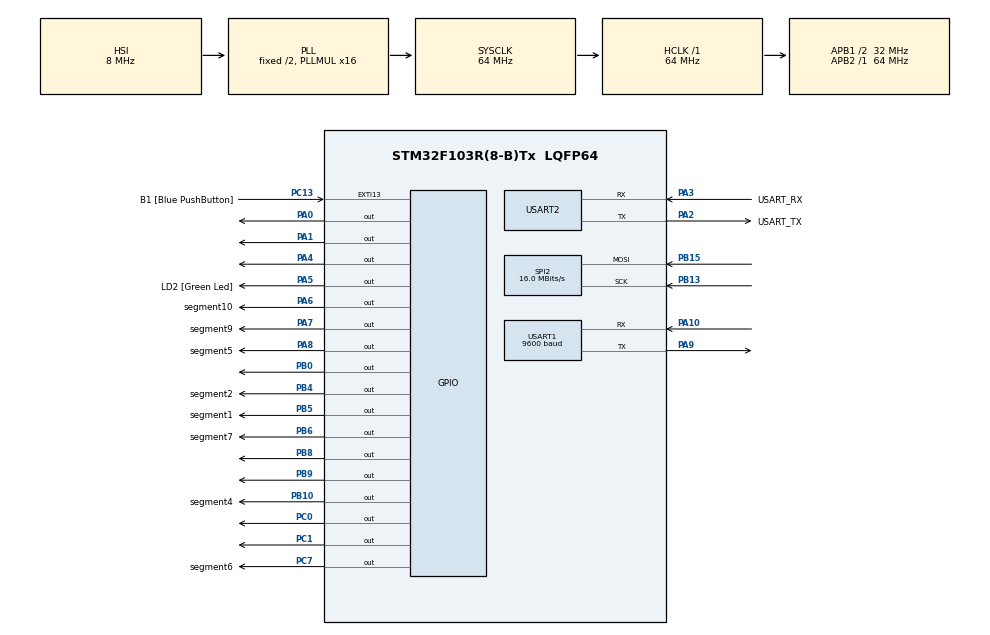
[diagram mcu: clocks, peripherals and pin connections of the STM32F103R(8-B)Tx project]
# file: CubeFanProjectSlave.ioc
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Mcu.Family=STM32F1
PA2.GPIO_PuPd=GPIO_NOPULL
SPI2.VirtualType=VM_SLAVE
USART1.BaudRate=9600
PA14.GPIO_Label=TCK
PA3.GPIO_PuPd=GPIO_NOPULL
PA2.GPIO_Speed=GPIO_SPEED_FREQ_LOW
PA6.GPIO_Label=segment10
PB6.GPIO_Label=segment7
PA3.GPIO_Speed=GPIO_SPEED_FREQ_LOW
PB13.Signal=SPI2_SCK
PB15.Signal=SPI2_MOSI
RCC.SYSCLKSource=RCC_SYSCLKSOURCE_PLLCLK
ProjectManager.StackSize=0x400
PD1-OSC_OUT.Signal=RCC_OSC_OUT
RCC.HCLKFreq_Value=64000000
RCC.APB2TimFreq_Value=64000000
TIM3.Period=0xffff
PB6.Signal=GPIO_Output
PC7.Signal=GPIO_Output
RCC.AHBFreq_Value=64000000
NVIC.EXTI15_10_IRQn=true\:0\:0\:false\:false\:true\:true\:true
RCC.RTCClockSelection=RCC_RTCCLKSOURCE_LSE
RCC.PLLMUL=RCC_PLL_MUL16
PC14-OSC32_IN.Mode=LSE-External-Oscillator
PA14.Mode=Serial_Wire
TIM3.Prescaler=64
PA5.GPIO_PuPd=GPIO_NOPULL
SPI2.CalculateBaudRate=16.0 MBits/s
PA8.Signal=GPIO_Output
NVIC.SPI2_IRQn=true\:0\:0\:false\:false\:true\:true\:true
TIM4.Period=999
Mcu.Package=LQFP64
PB9.Signal=GPIO_Output
TIM2.Prescaler=64000
PA6.Signal=GPIO_Output
SPI2.Mode=SPI_MODE_SLAVE
USART2.VirtualMode=VM_ASYNC
PC13-TAMPER-RTC.GPIO_PuPd=GPIO_NOPULL
PA2.GPIO_Label=USART_TX
PA10.Signal=USART1_RX
PB5.GPIO_Label=segment1
RCC.APB1TimFreq_Value=64000000
SPI2.Direction=SPI_DIRECTION_2LINES_RXONLY
PB13.Mode=RX_Only_Simplex_Unidirect_Slave
NVIC.USART1_IRQn=true\:0\:0\:false\:false\:true\:true\:true
VP_TIM3_VS_ClockSourceINT.Mode=Internal
PB4.Signal=GPIO_Output
PA3.Signal=USART2_RX
PA2.GPIO_Mode=GPIO_MODE_AF_PP
PB3.GPIO_Label=SWO
PC15-OSC32_OUT.Mode=LSE-External-Oscillator
PD1-OSC_OUT.Mode=HSE-External-Clock-Source
PA10.Mode=Asynchronous
PC13-TAMPER-RTC.Signal=GPXTI13
PD0-OSC_IN.Signal=RCC_OSC_IN
PC0.Signal=GPIO_Output
RCC.APB1CLKDivider=RCC_HCLK_DIV2
PC14-OSC32_IN.Signal=RCC_OSC32_IN
NVIC.USART2_IRQn=true\:0\:0\:false\:false\:true\:true\:true
PA0-WKUP.Signal=GPIO_Output
PA3.Mode=Asynchronous
PA13.Signal=SYS_JTMS-SWDIO
PA9.Mode=Asynchronous
PA8.GPIO_Label=segment5
ProjectManager.TargetToolchain=SW4STM32
PB10.GPIO_Label=segment4
PA3.GPIO_Mode=GPIO_MODE_AF_PP
PA9.Signal=USART1_TX
RCC.USBFreq_Value=64000000
TIM4.Prescaler=62999
PC15-OSC32_OUT.Signal=RCC_OSC32_OUT
PA1.Signal=GPIO_Output
PD0-OSC_IN.Mode=HSE-External-Clock-Source
PB10.Signal=GPIO_Output
PA5.Signal=GPIO_Output
board=NUCLEO-F103RB
PC13-TAMPER-RTC.GPIO_Label=B1 [Blue PushButton]
PB15.Mode=RX_Only_Simplex_Unidirect_Slave
RCC.APB2Freq_Value=64000000
PB4.GPIO_Label=segment2
PA5.GPIO_ModeDefaultOutputPP=GPIO_MODE_OUTPUT_PP
VP_TIM2_VS_ClockSourceINT.Mode=Internal
TIM2.Period=0xffff-1
PA13.Mode=Serial_Wire
Mcu.Name=STM32F103R(8-B)Tx
PA2.Signal=USART2_TX
PA13.GPIO_Label=TMS
PC7.GPIO_Label=segment6
PB3.Signal=SYS_JTDO-TRACESWO
PA4.Signal=GPIO_Output
RCC.SYSCLKFreq_VALUE=64000000
PB5.Signal=GPIO_Output
PA7.GPIO_Label=segment9
PA5.GPIO_Label=LD2 [Green Led]
USART1.VirtualMode=VM_ASYNC
PA14.Signal=SYS_JTCK-SWCLK
ProjectManager.HeapSize=0x200
VP_TIM4_VS_ClockSourceINT.Mode=Internal
PA5.GPIO_Speed=GPIO_SPEED_FREQ_LOW
NVIC.PriorityGroup=NVIC_PRIORITYGROUP_4
PA2.Mode=Asynchronous
PB8.Signal=GPIO_Output
NVIC.TIM4_IRQn=true\:0\:0\:false\:false\:true\:true\:true
RCC.APB1Freq_Value=32000000
PB0.Signal=GPIO_Output
PC1.Signal=GPIO_Output
PA3.GPIO_Label=USART_RX
PA7.Signal=GPIO_Output

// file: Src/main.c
/* USER CODE BEGIN Header */
/**
  ******************************************************************************
  * @file           : main.c
  * @brief          : Main program body
  ******************************************************************************
  * @attention
  *
  * <h2><center>&copy; Copyright (c) 2020 STMicroelectronics.
  * All rights reserved.</center></h2>
  *
  * This software component is licensed by ST under BSD 3-Clause license,
  * the "License"; You may not use this file except in compliance with the
  * License. You may obtain a copy of the License at:
  *                        opensource.org/licenses/BSD-3-Clause
  *
  ******************************************************************************
  */
/* USER CODE END Header */

#include "main.h"

/* USER CODE BEGIN Includes */
#include "..\lcd_4bits\lcd_1602.c"
/* USER CODE END Includes */

SPI_HandleTypeDef hspi2;

TIM_HandleTypeDef htim2;
TIM_HandleTypeDef htim3;
TIM_HandleTypeDef htim4;

UART_HandleTypeDef huart1;
UART_HandleTypeDef huart2;

/* USER CODE BEGIN PV */
uint8_t Received = 8;
uint8_t Received2;

uint8_t size = 0;
/* USER CODE END PV */

void SystemClock_Config(void);
static void MX_GPIO_Init(void);
static void MX_USART2_UART_Init(void);
static void MX_USART1_UART_Init(void);
static void MX_SPI2_Init(void);
static void MX_TIM3_Init(void);
static void MX_TIM2_Init(void);
static void MX_TIM4_Init(void);
/* USER CODE BEGIN PFP */
/* Private function prototypes -----------------------------------------------*/

void drawNumber(int i)
{
	switch(i)
	{
	case 0:

		HAL_GPIO_WritePin(segment1_GPIO_Port, segment1_Pin, GPIO_PIN_SET);
		HAL_GPIO_WritePin(segment2_GPIO_Port, segment2_Pin, GPIO_PIN_SET);
		HAL_GPIO_WritePin(segment4_GPIO_Port, segment4_Pin, GPIO_PIN_SET);
		HAL_GPIO_WritePin(segment5_GPIO_Port, segment5_Pin, GPIO_PIN_RESET);
		HAL_GPIO_WritePin(segment6_GPIO_Port, segment6_Pin, GPIO_PIN_SET);
		HAL_GPIO_WritePin(segment7_GPIO_Port, segment7_Pin, GPIO_PIN_SET);
		HAL_GPIO_WritePin(segment9_GPIO_Port, segment9_Pin, GPIO_PIN_SET);
		HAL_GPIO_WritePin(segment10_GPIO_Port, segment10_Pin, GPIO_PIN_RESET);
		break;
	case 1:
			HAL_GPIO_WritePin(segment1_GPIO_Port, segment1_Pin, GPIO_PIN_RESET);
			HAL_GPIO_WritePin(segment2_GPIO_Port, segment2_Pin, GPIO_PIN_RESET);
			HAL_GPIO_WritePin(segment4_GPIO_Port, segment4_Pin, GPIO_PIN_SET);
			HAL_GPIO_WritePin(segment5_GPIO_Port, segment5_Pin, GPIO_PIN_RESET);
			HAL_GPIO_WritePin(segment6_GPIO_Port, segment6_Pin, GPIO_PIN_SET);
			HAL_GPIO_WritePin(segment7_GPIO_Port, segment7_Pin, GPIO_PIN_RESET);
			HAL_GPIO_WritePin(segment9_GPIO_Port, segment9_Pin, GPIO_PIN_RESET);
			HAL_GPIO_WritePin(segment10_GPIO_Port, segment10_Pin, GPIO_PIN_RESET);
			break;
	case 2:
			HAL_GPIO_WritePin(segment1_GPIO_Port, segment1_Pin, GPIO_PIN_SET);
			HAL_GPIO_WritePin(segment2_GPIO_Port, segment2_Pin, GPIO_PIN_SET);
			HAL_GPIO_WritePin(segment4_GPIO_Port, segment4_Pin, GPIO_PIN_RESET);
			HAL_GPIO_WritePin(segment5_GPIO_Port, segment5_Pin, GPIO_PIN_RESET);
			HAL_GPIO_WritePin(segment6_GPIO_Port, segment6_Pin, GPIO_PIN_SET);
			HAL_GPIO_WritePin(segment7_GPIO_Port, segment7_Pin, GPIO_PIN_SET);
			HAL_GPIO_WritePin(segment9_GPIO_Port, segment9_Pin, GPIO_PIN_RESET);
			HAL_GPIO_WritePin(segment10_GPIO_Port, segment10_Pin, GPIO_PIN_SET);
			break;
	case 3:
			HAL_GPIO_WritePin(segment1_GPIO_Port, segment1_Pin, GPIO_PIN_RESET);
			HAL_GPIO_WritePin(segment2_GPIO_Port, segment2_Pin, GPIO_PIN_SET);
			HAL_GPIO_WritePin(segment4_GPIO_Port, segment4_Pin, GPIO_PIN_SET);
			HAL_GPIO_WritePin(segment5_GPIO_Port, segment5_Pin, GPIO_PIN_RESET);
			HAL_GPIO_WritePin(segment6_GPIO_Port, segment6_Pin, GPIO_PIN_SET);
			HAL_GPIO_WritePin(segment7_GPIO_Port, segment7_Pin, GPIO_PIN_SET);
			HAL_GPIO_WritePin(segment9_GPIO_Port, segment9_Pin, GPIO_PIN_RESET);
			HAL_GPIO_WritePin(segment10_GPIO_Port, segment10_Pin, GPIO_PIN_SET);
			break;

	case 4:
			HAL_GPIO_WritePin(segment1_GPIO_Port, segment1_Pin, GPIO_PIN_RESET);
			HAL_GPIO_WritePin(segment2_GPIO_Port, segment2_Pin, GPIO_PIN_RESET);
			HAL_GPIO_WritePin(segment4_GPIO_Port, segment4_Pin, GPIO_PIN_SET);
			HAL_GPIO_WritePin(segment5_GPIO_Port, segment5_Pin, GPIO_PIN_RESET);
			HAL_GPIO_WritePin(segment6_GPIO_Port, segment6_Pin, GPIO_PIN_SET);
			HAL_GPIO_WritePin(segment7_GPIO_Port, segment7_Pin, GPIO_PIN_RESET);
			HAL_GPIO_WritePin(segment9_GPIO_Port, segment9_Pin, GPIO_PIN_SET);
			HAL_GPIO_WritePin(segment10_GPIO_Port, segment10_Pin, GPIO_PIN_SET);
			break;
	case 5:
			HAL_GPIO_WritePin(segment1_GPIO_Port, segment1_Pin, GPIO_PIN_RESET);
			HAL_GPIO_WritePin(segment2_GPIO_Port, segment2_Pin, GPIO_PIN_SET);
			HAL_GPIO_WritePin(segment4_GPIO_Port, segment4_Pin, GPIO_PIN_SET);
			HAL_GPIO_WritePin(segment5_GPIO_Port, segment5_Pin, GPIO_PIN_RESET);
			HAL_GPIO_WritePin(segment6_GPIO_Port, segment6_Pin, GPIO_PIN_RESET);
			HAL_GPIO_WritePin(segment7_GPIO_Port, segment7_Pin, GPIO_PIN_SET);
			HAL_GPIO_WritePin(segment9_GPIO_Port, segment9_Pin, GPIO_PIN_SET);
			HAL_GPIO_WritePin(segment10_GPIO_Port, segment10_Pin, GPIO_PIN_SET);
			break;
	case 6:
			HAL_GPIO_WritePin(segment1_GPIO_Port, segment1_Pin, GPIO_PIN_SET);
			HAL_GPIO_WritePin(segment2_GPIO_Port, segment2_Pin, GPIO_PIN_SET);
			HAL_GPIO_WritePin(segment4_GPIO_Port, segment4_Pin, GPIO_PIN_SET);
			HAL_GPIO_WritePin(segment5_GPIO_Port, segment5_Pin, GPIO_PIN_RESET);
			HAL_GPIO_WritePin(segment6_GPIO_Port, segment6_Pin, GPIO_PIN_RESET);
			HAL_GPIO_WritePin(segment7_GPIO_Port, segment7_Pin, GPIO_PIN_SET);
			HAL_GPIO_WritePin(segment9_GPIO_Port, segment9_Pin, GPIO_PIN_SET);
			HAL_GPIO_WritePin(segment10_GPIO_Port, segment10_Pin, GPIO_PIN_SET);
			break;
	case 7:
			HAL_GPIO_WritePin(segment1_GPIO_Port, segment1_Pin, GPIO_PIN_RESET);
			HAL_GPIO_WritePin(segment2_GPIO_Port, segment2_Pin, GPIO_PIN_RESET);
			HAL_GPIO_WritePin(segment4_GPIO_Port, segment4_Pin, GPIO_PIN_SET);
			HAL_GPIO_WritePin(segment5_GPIO_Port, segment5_Pin, GPIO_PIN_RESET);
			HAL_GPIO_WritePin(segment6_GPIO_Port, segment6_Pin, GPIO_PIN_SET);
			HAL_GPIO_WritePin(segment7_GPIO_Port, segment7_Pin, GPIO_PIN_SET);
			HAL_GPIO_WritePin(segment9_GPIO_Port, segment9_Pin, GPIO_PIN_RESET);
			HAL_GPIO_WritePin(segment10_GPIO_Port, segment10_Pin, GPIO_PIN_RESET);
			break;
	case 8:
			HAL_GPIO_WritePin(segment1_GPIO_Port, segment1_Pin, GPIO_PIN_SET);
			HAL_GPIO_WritePin(segment2_GPIO_Port, segment2_Pin, GPIO_PIN_SET);
			HAL_GPIO_WritePin(segment4_GPIO_Port, segment4_Pin, GPIO_PIN_SET);
			HAL_GPIO_WritePin(segment5_GPIO_Port, segment5_Pin, GPIO_PIN_RESET);
			HAL_GPIO_WritePin(segment6_GPIO_Port, segment6_Pin, GPIO_PIN_SET);
			HAL_GPIO_WritePin(segment7_GPIO_Port, segment7_Pin, GPIO_PIN_SET);
			HAL_GPIO_WritePin(segment9_GPIO_Port, segment9_Pin, GPIO_PIN_SET);
			HAL_GPIO_WritePin(segment10_GPIO_Port, segment10_Pin, GPIO_PIN_SET);
			break;
	case 9:
			HAL_GPIO_WritePin(segment1_GPIO_Port, segment1_Pin, GPIO_PIN_RESET);
			HAL_GPIO_WritePin(segment2_GPIO_Port, segment2_Pin, GPIO_PIN_SET);
			HAL_GPIO_WritePin(segment4_GPIO_Port, segment4_Pin, GPIO_PIN_SET);
			HAL_GPIO_WritePin(segment5_GPIO_Port, segment5_Pin, GPIO_PIN_RESET);
			HAL_GPIO_WritePin(segment6_GPIO_Port, segment6_Pin, GPIO_PIN_SET);
			HAL_GPIO_WritePin(segment7_GPIO_Port, segment7_Pin, GPIO_PIN_SET);
			HAL_GPIO_WritePin(segment9_GPIO_Port, segment9_Pin, GPIO_PIN_SET);
			HAL_GPIO_WritePin(segment10_GPIO_Port, segment10_Pin, GPIO_PIN_SET);
			break;
	default:
			HAL_GPIO_WritePin(segment1_GPIO_Port, segment1_Pin, GPIO_PIN_RESET);
			HAL_GPIO_WritePin(segment2_GPIO_Port, segment2_Pin, GPIO_PIN_RESET);
			HAL_GPIO_WritePin(segment4_GPIO_Port, segment4_Pin, GPIO_PIN_RESET);
			HAL_GPIO_WritePin(segment5_GPIO_Port, segment5_Pin, GPIO_PIN_RESET);
			HAL_GPIO_WritePin(segment6_GPIO_Port, segment6_Pin, GPIO_PIN_RESET);
			HAL_GPIO_WritePin(segment7_GPIO_Port, segment7_Pin, GPIO_PIN_RESET);
			HAL_GPIO_WritePin(segment9_GPIO_Port, segment9_Pin, GPIO_PIN_RESET);
			HAL_GPIO_WritePin(segment10_GPIO_Port, segment10_Pin, GPIO_PIN_RESET);
			break;
	}
}
void HAL_UART_RxCpltCallback(UART_HandleTypeDef *huart) {

 uint8_t Data[50]; // Tablica przechowujaca wysylana wiadomosc.
 uint16_t size = 0; // Rozmiar wysylanej wiadomosci
 // Odebrany znak zostaje przekonwertowany na liczbe calkowita i sprawdzony
 // instrukcja warunkowa

 drawNumber(atoi(&Received));

 //HAL_UART_Transmit_IT(&huart2, Data, size); // Rozpoczecie nadawania danych z wykorzystaniem przerwan
 //HAL_UART_Transmit_IT(&huart2, &Received, 1);
 HAL_GPIO_TogglePin(GPIOA,GPIO_PIN_5);
 HAL_UART_Receive_IT(&huart1, &Received, 1); // Ponowne w³¹czenie nas³uchiwania

}
void HAL_SPI_RxCpltCallback(SPI_HandleTypeDef *hspi)
{
	 HAL_GPIO_TogglePin(GPIOB,GPIO_PIN_8);//blinking diode if SPI working
	 HAL_SPI_Receive_IT(&hspi2,&Received2,1);
}
void HAL_TIM_PeriodElapsedCallback(TIM_HandleTypeDef *htim)
{
	uint8_t SetTemp[10];
	if (htim->Instance == TIM4)
  {
	  lcd_gotoxy(0,0);
	  lcd_puts("Zadana temp.:");

	  sprintf(SetTemp,"%d", Received2);
	  lcd_gotoxy(3,1);
	  lcd_puts(SetTemp);

	  lcd_gotoxy(7,1);
	  lcd_puts("st. C");
	  HAL_GPIO_TogglePin(GPIOB,GPIO_PIN_9);
  }
}
/* USER CODE END PFP */

int main(void)
{

  /* MCU Configuration--------------------------------------------------------*/

  /* Reset of all peripherals, Initializes the Flash interface and the Systick. */
  HAL_Init();

  /* Configure the system clock */
  SystemClock_Config();

  /* Initialize all configured peripherals */
  MX_GPIO_Init();
  MX_USART2_UART_Init();
  MX_USART1_UART_Init();
  MX_SPI2_Init();
  MX_TIM3_Init();
  MX_TIM2_Init();
  MX_TIM4_Init();
  /* USER CODE BEGIN 2 */
  HAL_UART_Receive_IT(&huart1,&Received,1);
  HAL_SPI_Receive_IT(&hspi2,&Received2,1);
  HAL_TIM_Base_Start(&htim3);
  HAL_TIM_Base_Start(&htim2);
  HAL_TIM_Base_Start_IT(&htim4);
  lcd_init();
  /* USER CODE END 2 */

  /* Infinite loop */
  /* USER CODE BEGIN WHILE */
  while (1)
  {
	  //HAL_GPIO_WritePin(GPIOB,GPIO_PIN_8,4);
	  	  //HAL_Delay(100);

	  //HAL_GPIO_WritePin(GPIOB,GPIO_PIN_8,2);

	  //HAL_Delay(100);
    /* USER CODE END WHILE */

  }
}

void SystemClock_Config(void)
{
  RCC_OscInitTypeDef RCC_OscInitStruct = {0};
  RCC_ClkInitTypeDef RCC_ClkInitStruct = {0};

  /** Initializes the CPU, AHB and APB busses clocks
  */
  RCC_OscInitStruct.OscillatorType = RCC_OSCILLATORTYPE_HSI;
  RCC_OscInitStruct.HSIState = RCC_HSI_ON;
  RCC_OscInitStruct.HSICalibrationValue = RCC_HSICALIBRATION_DEFAULT;
  RCC_OscInitStruct.PLL.PLLState = RCC_PLL_ON;
  RCC_OscInitStruct.PLL.PLLSource = RCC_PLLSOURCE_HSI_DIV2;
  RCC_OscInitStruct.PLL.PLLMUL = RCC_PLL_MUL16;
  if (HAL_RCC_OscConfig(&RCC_OscInitStruct) != HAL_OK)
  {
    Error_Handler();
  }
  /** Initializes the CPU, AHB and APB busses clocks
  */
  RCC_ClkInitStruct.ClockType = RCC_CLOCKTYPE_HCLK|RCC_CLOCKTYPE_SYSCLK
                              |RCC_CLOCKTYPE_PCLK1|RCC_CLOCKTYPE_PCLK2;
  RCC_ClkInitStruct.SYSCLKSource = RCC_SYSCLKSOURCE_PLLCLK;
  RCC_ClkInitStruct.AHBCLKDivider = RCC_SYSCLK_DIV1;
  RCC_ClkInitStruct.APB1CLKDivider = RCC_HCLK_DIV2;
  RCC_ClkInitStruct.APB2CLKDivider = RCC_HCLK_DIV1;

  if (HAL_RCC_ClockConfig(&RCC_ClkInitStruct, FLASH_LATENCY_2) != HAL_OK)
  {
    Error_Handler();
  }
}

static void MX_SPI2_Init(void)
{

  /* SPI2 parameter configuration*/
  hspi2.Instance = SPI2;
  hspi2.Init.Mode = SPI_MODE_SLAVE;
  hspi2.Init.Direction = SPI_DIRECTION_2LINES_RXONLY;
  hspi2.Init.DataSize = SPI_DATASIZE_8BIT;
  hspi2.Init.CLKPolarity = SPI_POLARITY_LOW;
  hspi2.Init.CLKPhase = SPI_PHASE_1EDGE;
  hspi2.Init.NSS = SPI_NSS_SOFT;
  hspi2.Init.BaudRatePrescaler = SPI_BAUDRATEPRESCALER_2;
  hspi2.Init.FirstBit = SPI_FIRSTBIT_MSB;
  hspi2.Init.TIMode = SPI_TIMODE_DISABLE;
  hspi2.Init.CRCCalculation = SPI_CRCCALCULATION_DISABLE;
  hspi2.Init.CRCPolynomial = 10;
  if (HAL_SPI_Init(&hspi2) != HAL_OK)
  {
    Error_Handler();
  }

}

static void MX_TIM2_Init(void)
{

  TIM_ClockConfigTypeDef sClockSourceConfig = {0};
  TIM_MasterConfigTypeDef sMasterConfig = {0};

  htim2.Instance = TIM2;
  htim2.Init.Prescaler = 64000;
  htim2.Init.CounterMode = TIM_COUNTERMODE_UP;
  htim2.Init.Period = 0xffff-1;
  htim2.Init.ClockDivision = TIM_CLOCKDIVISION_DIV1;
  htim2.Init.AutoReloadPreload = TIM_AUTORELOAD_PRELOAD_DISABLE;
  if (HAL_TIM_Base_Init(&htim2) != HAL_OK)
  {
    Error_Handler();
  }
  sClockSourceConfig.ClockSource = TIM_CLOCKSOURCE_INTERNAL;
  if (HAL_TIM_ConfigClockSource(&htim2, &sClockSourceConfig) != HAL_OK)
  {
    Error_Handler();
  }
  sMasterConfig.MasterOutputTrigger = TIM_TRGO_RESET;
  sMasterConfig.MasterSlaveMode = TIM_MASTERSLAVEMODE_DISABLE;
  if (HAL_TIMEx_MasterConfigSynchronization(&htim2, &sMasterConfig) != HAL_OK)
  {
    Error_Handler();
  }

}

static void MX_TIM3_Init(void)
{

  TIM_ClockConfigTypeDef sClockSourceConfig = {0};
  TIM_MasterConfigTypeDef sMasterConfig = {0};

  htim3.Instance = TIM3;
  htim3.Init.Prescaler = 64;
  htim3.Init.CounterMode = TIM_COUNTERMODE_UP;
  htim3.Init.Period = 0xffff;
  htim3.Init.ClockDivision = TIM_CLOCKDIVISION_DIV1;
  htim3.Init.AutoReloadPreload = TIM_AUTORELOAD_PRELOAD_DISABLE;
  if (HAL_TIM_Base_Init(&htim3) != HAL_OK)
  {
    Error_Handler();
  }
  sClockSourceConfig.ClockSource = TIM_CLOCKSOURCE_INTERNAL;
  if (HAL_TIM_ConfigClockSource(&htim3, &sClockSourceConfig) != HAL_OK)
  {
    Error_Handler();
  }
  sMasterConfig.MasterOutputTrigger = TIM_TRGO_RESET;
  sMasterConfig.MasterSlaveMode = TIM_MASTERSLAVEMODE_DISABLE;
  if (HAL_TIMEx_MasterConfigSynchronization(&htim3, &sMasterConfig) != HAL_OK)
  {
    Error_Handler();
  }

}

static void MX_TIM4_Init(void)
{

  TIM_ClockConfigTypeDef sClockSourceConfig = {0};
  TIM_MasterConfigTypeDef sMasterConfig = {0};

  htim4.Instance = TIM4;
  htim4.Init.Prescaler = 62999;
  htim4.Init.CounterMode = TIM_COUNTERMODE_UP;
  htim4.Init.Period = 999;
  htim4.Init.ClockDivision = TIM_CLOCKDIVISION_DIV1;
  htim4.Init.AutoReloadPreload = TIM_AUTORELOAD_PRELOAD_DISABLE;
  if (HAL_TIM_Base_Init(&htim4) != HAL_OK)
  {
    Error_Handler();
  }
  sClockSourceConfig.ClockSource = TIM_CLOCKSOURCE_INTERNAL;
  if (HAL_TIM_ConfigClockSource(&htim4, &sClockSourceConfig) != HAL_OK)
  {
    Error_Handler();
  }
  sMasterConfig.MasterOutputTrigger = TIM_TRGO_RESET;
  sMasterConfig.MasterSlaveMode = TIM_MASTERSLAVEMODE_DISABLE;
  if (HAL_TIMEx_MasterConfigSynchronization(&htim4, &sMasterConfig) != HAL_OK)
  {
    Error_Handler();
  }

}

static void MX_USART1_UART_Init(void)
{

  huart1.Instance = USART1;
  huart1.Init.BaudRate = 9600;
  huart1.Init.WordLength = UART_WORDLENGTH_8B;
  huart1.Init.StopBits = UART_STOPBITS_1;
  huart1.Init.Parity = UART_PARITY_NONE;
  huart1.Init.Mode = UART_MODE_TX_RX;
  huart1.Init.HwFlowCtl = UART_HWCONTROL_NONE;
  huart1.Init.OverSampling = UART_OVERSAMPLING_16;
  if (HAL_UART_Init(&huart1) != HAL_OK)
  {
    Error_Handler();
  }

}

static void MX_USART2_UART_Init(void)
{

  huart2.Instance = USART2;
  huart2.Init.BaudRate = 115200;
  huart2.Init.WordLength = UART_WORDLENGTH_8B;
  huart2.Init.StopBits = UART_STOPBITS_1;
  huart2.Init.Parity = UART_PARITY_NONE;
  huart2.Init.Mode = UART_MODE_TX_RX;
  huart2.Init.HwFlowCtl = UART_HWCONTROL_NONE;
  huart2.Init.OverSampling = UART_OVERSAMPLING_16;
  if (HAL_UART_Init(&huart2) != HAL_OK)
  {
    Error_Handler();
  }

}

static void MX_GPIO_Init(void)
{
  GPIO_InitTypeDef GPIO_InitStruct = {0};

  /* GPIO Ports Clock Enable */
  __HAL_RCC_GPIOC_CLK_ENABLE();
  __HAL_RCC_GPIOD_CLK_ENABLE();
  __HAL_RCC_GPIOA_CLK_ENABLE();
  __HAL_RCC_GPIOB_CLK_ENABLE();

  /*Configure GPIO pin Output Level */
  HAL_GPIO_WritePin(GPIOC, GPIO_PIN_0|GPIO_PIN_1|segment6_Pin, GPIO_PIN_RESET);

  /*Configure GPIO pin Output Level */
  HAL_GPIO_WritePin(GPIOA, GPIO_PIN_0|GPIO_PIN_1|GPIO_PIN_4|LD2_Pin
                          |segment10_Pin|segment9_Pin|segment5_Pin, GPIO_PIN_RESET);

  /*Configure GPIO pin Output Level */
  HAL_GPIO_WritePin(GPIOB, GPIO_PIN_0|segment4_Pin|segment2_Pin|segment1_Pin
                          |segment7_Pin|GPIO_PIN_8|GPIO_PIN_9, GPIO_PIN_RESET);

  /*Configure GPIO pin : B1_Pin */
  GPIO_InitStruct.Pin = B1_Pin;
  GPIO_InitStruct.Mode = GPIO_MODE_IT_RISING;
  GPIO_InitStruct.Pull = GPIO_NOPULL;
  HAL_GPIO_Init(B1_GPIO_Port, &GPIO_InitStruct);

  /*Configure GPIO pins : PC0 PC1 segment6_Pin */
  GPIO_InitStruct.Pin = GPIO_PIN_0|GPIO_PIN_1|segment6_Pin;
  GPIO_InitStruct.Mode = GPIO_MODE_OUTPUT_PP;
  GPIO_InitStruct.Pull = GPIO_NOPULL;
  GPIO_InitStruct.Speed = GPIO_SPEED_FREQ_LOW;
  HAL_GPIO_Init(GPIOC, &GPIO_InitStruct);

  /*Configure GPIO pins : PA0 PA1 PA4 LD2_Pin
                           segment10_Pin segment9_Pin segment5_Pin */
  GPIO_InitStruct.Pin = GPIO_PIN_0|GPIO_PIN_1|GPIO_PIN_4|LD2_Pin
                          |segment10_Pin|segment9_Pin|segment5_Pin;
  GPIO_InitStruct.Mode = GPIO_MODE_OUTPUT_PP;
  GPIO_InitStruct.Pull = GPIO_NOPULL;
  GPIO_InitStruct.Speed = GPIO_SPEED_FREQ_LOW;
  HAL_GPIO_Init(GPIOA, &GPIO_InitStruct);

  /*Configure GPIO pins : PB0 segment4_Pin segment2_Pin segment1_Pin
                           segment7_Pin PB8 PB9 */
  GPIO_InitStruct.Pin = GPIO_PIN_0|segment4_Pin|segment2_Pin|segment1_Pin
                          |segment7_Pin|GPIO_PIN_8|GPIO_PIN_9;
  GPIO_InitStruct.Mode = GPIO_MODE_OUTPUT_PP;
  GPIO_InitStruct.Pull = GPIO_NOPULL;
  GPIO_InitStruct.Speed = GPIO_SPEED_FREQ_LOW;
  HAL_GPIO_Init(GPIOB, &GPIO_InitStruct);

  /* EXTI interrupt init*/
  HAL_NVIC_SetPriority(EXTI15_10_IRQn, 0, 0);
  HAL_NVIC_EnableIRQ(EXTI15_10_IRQn);

}

void Error_Handler(void)
{
}

/************************ (C) COPYRIGHT STMicroelectronics *****END OF FILE****/
